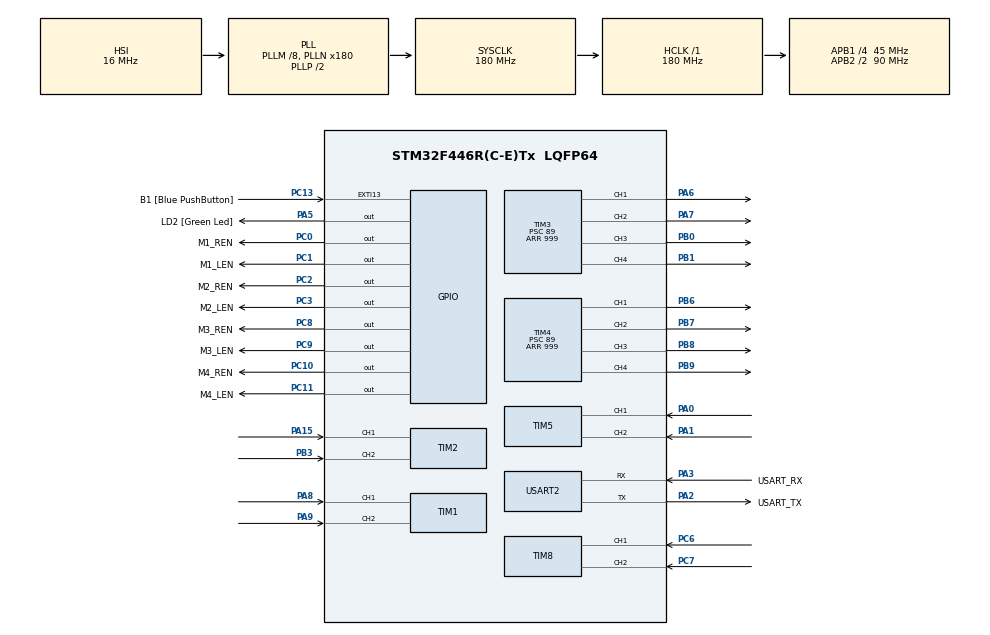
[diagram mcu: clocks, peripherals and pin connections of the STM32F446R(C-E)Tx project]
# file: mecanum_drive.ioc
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Mcu.Family=STM32F4
Mcu.Name=STM32F446R(C-E)Tx
Mcu.Package=LQFP64
NVIC.PriorityGroup=NVIC_PRIORITYGROUP_0
NVIC.TIM6_DAC_IRQn=true\:0\:0\:false\:false\:true\:true\:true\:true
NVIC.USART2_IRQn=true\:0\:0\:false\:false\:true\:true\:true\:true
PA0-WKUP.Signal=S_TIM5_CH1
PA1.Signal=S_TIM5_CH2
PA13.GPIO_Label=TMS
PA13.Mode=Serial_Wire
PA13.Signal=SYS_JTMS-SWDIO
PA14.GPIO_Label=TCK
PA14.Mode=Serial_Wire
PA14.Signal=SYS_JTCK-SWCLK
PA15.Signal=S_TIM2_CH1_ETR
PA2.GPIO_Label=USART_TX
PA2.Mode=Asynchronous
PA2.Signal=USART2_TX
PA3.GPIO_Label=USART_RX
PA3.Mode=Asynchronous
PA3.Signal=USART2_RX
PA5.GPIO_Label=LD2 [Green Led]
PA5.Signal=GPIO_Output
PA6.Signal=S_TIM3_CH1
PA7.Signal=S_TIM3_CH2
PA8.Signal=S_TIM1_CH1
PA9.Signal=S_TIM1_CH2
PB0.Signal=S_TIM3_CH3
PB1.Signal=S_TIM3_CH4
PB3.Signal=S_TIM2_CH2
PB6.Signal=S_TIM4_CH1
PB7.Signal=S_TIM4_CH2
PB8.Signal=S_TIM4_CH3
PB9.Signal=S_TIM4_CH4
PC0.GPIO_Label=M1_REN
PC0.Signal=GPIO_Output
PC1.GPIO_Label=M1_LEN
PC1.Signal=GPIO_Output
PC10.GPIO_Label=M4_REN
PC10.Signal=GPIO_Output
PC11.GPIO_Label=M4_LEN
PC11.Signal=GPIO_Output
PC13.GPIO_Label=B1 [Blue PushButton]
PC13.GPIO_ModeDefaultEXTI=GPIO_MODE_IT_FALLING
PC13.Signal=GPXTI13
PC14-OSC32_IN.Signal=RCC_OSC32_IN
PC15-OSC32_OUT.Signal=RCC_OSC32_OUT
PC2.GPIO_Label=M2_REN
PC2.Signal=GPIO_Output
PC3.GPIO_Label=M2_LEN
PC3.Signal=GPIO_Output
PC6.Signal=S_TIM8_CH1
PC7.Signal=S_TIM8_CH2
PC8.GPIO_Label=M3_REN
PC8.Signal=GPIO_Output
PC9.GPIO_Label=M3_LEN
PC9.Signal=GPIO_Output
PH0-OSC_IN.Signal=RCC_OSC_IN
PH1-OSC_OUT.Signal=RCC_OSC_OUT
ProjectManager.HeapSize=0x200
ProjectManager.StackSize=0x400
ProjectManager.TargetToolchain=STM32CubeIDE
RCC.AHBFreq_Value=180000000
RCC.APB1CLKDivider=RCC_HCLK_DIV4
RCC.APB1Freq_Value=45000000
RCC.APB1TimFreq_Value=90000000
RCC.APB2CLKDivider=RCC_HCLK_DIV2
RCC.APB2Freq_Value=90000000
RCC.APB2TimFreq_Value=180000000
RCC.CortexFreq_Value=180000000
RCC.FLatency-AdvancedSettings=FLASH_LATENCY_5
RCC.HCLKFreq_Value=180000000
RCC.HSE_VALUE=8000000
RCC.HSI_VALUE=16000000
RCC.LSE_VALUE=32768
RCC.PLLM=8
RCC.PLLN=180
RCC.SYSCLKFreq_VALUE=180000000
RCC.SYSCLKSource=RCC_SYSCLKSOURCE_PLLCLK
RCC.USBFreq_Value=180000000
RCC.VCOOutputFreq_Value=360000000
SH.S_TIM1_CH1.0=TIM1_CH1,Encoder_Interface
SH.S_TIM1_CH2.0=TIM1_CH2,Encoder_Interface
SH.S_TIM2_CH1_ETR.0=TIM2_CH1,Encoder_Interface
SH.S_TIM2_CH2.0=TIM2_CH2,Encoder_Interface
SH.S_TIM3_CH1.0=TIM3_CH1,PWM Generation1 CH1
SH.S_TIM3_CH2.0=TIM3_CH2,PWM Generation2 CH2
SH.S_TIM3_CH3.0=TIM3_CH3,PWM Generation3 CH3
SH.S_TIM3_CH4.0=TIM3_CH4,PWM Generation4 CH4
SH.S_TIM4_CH1.0=TIM4_CH1,PWM Generation1 CH1
SH.S_TIM4_CH2.0=TIM4_CH2,PWM Generation2 CH2
SH.S_TIM4_CH3.0=TIM4_CH3,PWM Generation3 CH3
SH.S_TIM4_CH4.0=TIM4_CH4,PWM Generation4 CH4
SH.S_TIM5_CH1.0=TIM5_CH1,Encoder_Interface
SH.S_TIM5_CH2.0=TIM5_CH2,Encoder_Interface
SH.S_TIM8_CH1.0=TIM8_CH1,Encoder_Interface
SH.S_TIM8_CH2.0=TIM8_CH2,Encoder_Interface
TIM1.EncoderMode=TIM_ENCODERMODE_TI12
TIM1.IC1Filter=15
TIM1.IC2Filter=15
TIM2.EncoderMode=TIM_ENCODERMODE_TI12
TIM2.IC1Filter=15
TIM2.IC2Filter=15
TIM3.Channel-PWM\ Generation1\ CH1=TIM_CHANNEL_1
TIM3.Channel-PWM\ Generation2\ CH2=TIM_CHANNEL_2
TIM3.Channel-PWM\ Generation3\ CH3=TIM_CHANNEL_3
TIM3.Channel-PWM\ Generation4\ CH4=TIM_CHANNEL_4
TIM3.Period=999
TIM3.Prescaler=89
TIM4.Channel-PWM\ Generation1\ CH1=TIM_CHANNEL_1
TIM4.Channel-PWM\ Generation2\ CH2=TIM_CHANNEL_2
TIM4.Channel-PWM\ Generation3\ CH3=TIM_CHANNEL_3
TIM4.Channel-PWM\ Generation4\ CH4=TIM_CHANNEL_4
TIM4.Period=999
TIM4.Prescaler=89
TIM5.EncoderMode=TIM_ENCODERMODE_TI12
TIM5.IC1Filter=15
TIM5.IC2Filter=15
TIM6.Period=199
TIM6.Prescaler=8999
TIM8.EncoderMode=TIM_ENCODERMODE_TI12
TIM8.IC1Filter=15
TIM8.IC2Filter=15
USART2.VirtualMode=VM_ASYNC
VP_TIM6_VS_ClockSourceINT.Mode=Enable_Timer
board=NUCLEO-F446RE

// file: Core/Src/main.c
/* USER CODE BEGIN Header */
/**
  ******************************************************************************
  * @file           : main.c
  * @brief          : Main program body
  ******************************************************************************
  * @attention
  *
  * Copyright (c) 2026 STMicroelectronics.
  * All rights reserved.
  *
  * This software is licensed under terms that can be found in the LICENSE file
  * in the root directory of this software component.
  * If no LICENSE file comes with this software, it is provided AS-IS.
  *
  ******************************************************************************
  */
/* USER CODE END Header */
#include "main.h"

/* USER CODE BEGIN Includes */
#include <stdio.h>
#include <stdlib.h>
#include <string.h>
#include <math.h>
/* USER CODE END Includes */

/* USER CODE BEGIN PD */
/* 11 PPR x 4 (quadrature) x 21.3 gear ratio */
#define COUNTS_PER_REV   937.2f
/* Must match the TIM6 interrupt rate (50 Hz) */
#define TICK_SECONDS     0.02f
#define TWO_PI           6.283185f

/* Development duty ceiling out of the 999 ARR full scale: a wrong sign or a
 * runaway command crawls instead of bolting. Raised deliberately once closed
 * loop is trusted. */
#define DUTY_CEILING 300

/* Open-loop feedforward gain: ~41.9 rad/s (400 RPM no-load) maps to the 999
 * full-duty count, so 999 / 41.89 = 23.85. A first guess the PID corrects. */
#define DUTY_PER_RAD_S 23.85f

/* Largest accepted wheel command: the motor's no-load top speed. Anything
 * beyond is a malformed command and is rejected, not clamped. */
#define MAX_CMD_RAD_S 42.0f

/* Largest gain the K command accepts. Covers the tuning sweep with room to
 * probe the instability edge (around 55 to 80 for FL), and rejects a dropped
 * decimal point (300 meant as 30.0). Rejected, not clamped, like
 * MAX_CMD_RAD_S: a clamped typo would still run a gain never intended. */
#define KP_MAX 80.0f

/* Largest integral gain the I command accepts, duty counts per (rad/s x s).
 * Twice the top of the tuning sweep (Ki 200), and rejects a dropped decimal
 * point (1000 meant as 100.0). Rejected, not clamped, like KP_MAX. */
#define KI_MAX 400.0f

/* Anti-windup clamp on each wheel's integral term, in duty counts. Covers
 * every legitimate need with margin (worst case about 42: FR at low speed,
 * cold, low battery; FR needs about -30 at 12 rad/s, hence symmetric), while
 * a wheel that cannot reach its target can add at most 60 counts of wound-up
 * duty instead of hundreds. */
#define I_LIMIT 60.0f

/* Per-wheel forward-drive sign, order {FL, FR, RL, RR}.
 * Left wheels mount mirror-imaged to the right, so their encoders count the
 * opposite way and read negative when rolled forward. Corrected here in
 * firmware, never by swapping Hall wires, to keep the wiring uniform.
 * Bench-measured on a forward roll: FL -, FR +, RL -, RR +. */
#define DIR_FL (-1)
#define DIR_FR (+1)
#define DIR_RL (-1)
#define DIR_RR (+1)

/* USER CODE END PD */

TIM_HandleTypeDef htim1;
TIM_HandleTypeDef htim2;
TIM_HandleTypeDef htim3;
TIM_HandleTypeDef htim4;
TIM_HandleTypeDef htim5;
TIM_HandleTypeDef htim6;
TIM_HandleTypeDef htim8;

UART_HandleTypeDef huart2;

/* USER CODE BEGIN PV */

/* Live encoder counts - global so the debugger's Live Expressions
 * panel can watch them. Raw CNT register values, updated each loop. */
volatile uint32_t enc_fl = 0;   /* M1 front left  - TIM1 */
volatile uint32_t enc_fr = 0;   /* M2 front right - TIM8 */
volatile uint32_t enc_rl = 0;   /* M3 rear left   - TIM5 */
volatile uint32_t enc_rr = 0;   /* M4 rear right  - TIM2 */

/* Previous-tick counts, used to compute per-tick deltas */
volatile uint32_t enc_fl_prev = 0;
volatile uint32_t enc_fr_prev = 0;
volatile uint32_t enc_rl_prev = 0;
volatile uint32_t enc_rr_prev = 0;

/* Wheel velocities in rad/s, updated each TIM6 tick */
volatile float vel_fl = 0.0f;
volatile float vel_fr = 0.0f;
volatile float vel_rl = 0.0f;
volatile float vel_rr = 0.0f;

/* Raised by the TIM6 ISR when a fresh velocity sample exists, cleared by the
 * main loop once it has sent one line. volatile: crosses the ISR/main-loop
 * boundary. Single byte, so the load/store is atomic on Cortex-M4. */
volatile uint8_t tx_ready = 0;

/* ---- Command receive (USART2 RX) ---- */

/* One-byte landing slot HAL fills on each interrupt receive. */
uint8_t rx_byte = 0;

/* Ring buffer: ISR writes bytes at head, main loop reads at tail. Decouples the
 * fast interrupt from the slow line parsing. Power-of-two size so the wrap is a
 * bitmask, not a divide. Single-writer-per-index (ISR owns head, main owns
 * tail) makes it lock-free on Cortex-M4. */
#define RX_RING_SIZE 128
volatile uint8_t  rx_ring[RX_RING_SIZE];
volatile uint16_t rx_head = 0;
volatile uint16_t rx_tail = 0;

/* Commanded wheel velocities in rad/s, order FL FR RL RR. Written only by a
 * validated C,... line (atomically, see parse_command) and cleared on disarm.
 * Read by TIM6, which maps them to PWM via apply_velocity_control(). */

volatile float target_fl = 0.0f;
volatile float target_fr = 0.0f;
volatile float target_rl = 0.0f;
volatile float target_rr = 0.0f;

/* Proportional gain, duty counts per rad/s of error. Boots at 0 so a fresh
 * board reproduces the verified open loop until a K command is acknowledged.
 * No PRIMASK needed, unlike the targets: one aligned 32-bit store is atomic
 * on the M4. Survives disarm; only reset or a new K command changes it. */
volatile float kp = 0.0f;

/* Integral gain. Boots at 0, and at ki = 0 the integrals stay at 0, so a
 * fresh board runs exactly the P law of 3c0b9ff. Same rules as kp: changed
 * only while disarmed, survives disarm, atomic 32-bit store. */
volatile float ki = 0.0f;

/* Per-wheel integral term in duty counts: the controller's only memory.
 * Written by TIM6 (wheel_duty) and cleared by motors_disarm(); read by the
 * main loop for the D,... line. */
volatile float integ_fl = 0.0f;
volatile float integ_fr = 0.0f;
volatile float integ_rl = 0.0f;
volatile float integ_rr = 0.0f;

/* Watchdog: ms timestamp of the last valid velocity command. Compared against
 * HAL_GetTick() to detect a dead control link. */
volatile uint32_t last_cmd_ms = 0;

/* If armed and no valid C,... arrives within this many ms, the watchdog
 * disarms. 300 ms: a dead link stops the wheels in about a third of a
 * second. The host must command faster than this (console heartbeat 100 ms). */
#define CMD_TIMEOUT_MS 300u

/* State-change event to emit from the main loop (never transmit from an ISR).
 * 0 = nothing pending. */
volatile uint8_t status_event = 0;
#define STATUS_ARMED     1
#define STATUS_DISARMED  2
#define STATUS_TIMEOUT   3

/* Master motion permission. Starts disarmed so the board boots inert; only an
 * explicit motors_arm() permits motion. volatile: the Step 5 watchdog clears it
 * from interrupt context while the main loop reads it. */
volatile uint8_t motors_armed = 0;

/* USER CODE END PV */

void SystemClock_Config(void);
static void MX_GPIO_Init(void);
static void MX_TIM3_Init(void);
static void MX_TIM4_Init(void);
static void MX_TIM1_Init(void);
static void MX_TIM2_Init(void);
static void MX_TIM5_Init(void);
static void MX_TIM8_Init(void);
static void MX_TIM6_Init(void);
static void MX_USART2_UART_Init(void);
/* USER CODE BEGIN PFP */
void motor_set(TIM_HandleTypeDef *htim, uint32_t rpwm_ch, uint32_t lpwm_ch,
               GPIO_TypeDef *en_port, uint16_t ren_pin, uint16_t len_pin,
               int16_t speed);
void mecanum_drive(int16_t vx, int16_t vy, int16_t omega);

void encoders_read_raw(void);

void HAL_TIM_PeriodElapsedCallback(TIM_HandleTypeDef *htim);

void motors_disarm(void);
void motors_arm(void);

void process_rx(void);
static void parse_enable(const char *s);
static void parse_command(const char *s);
static int16_t wheel_duty(float target, float measured, volatile float *integ);
void apply_velocity_control(void);
static void parse_gain(const char *s);

/* USER CODE END PFP */

int main(void)
{

  /* MCU Configuration--------------------------------------------------------*/

  /* Reset of all peripherals, Initializes the Flash interface and the Systick. */
  HAL_Init();

  /* Configure the system clock */
  SystemClock_Config();

  /* Initialize all configured peripherals */
  MX_GPIO_Init();
  MX_TIM3_Init();
  MX_TIM4_Init();
  MX_TIM1_Init();
  MX_TIM2_Init();
  MX_TIM5_Init();
  MX_TIM8_Init();
  MX_TIM6_Init();
  MX_USART2_UART_Init();
  /* USER CODE BEGIN 2 */
  /* Start PWM on all 8 channels */
  HAL_TIM_PWM_Start(&htim3, TIM_CHANNEL_1);
  HAL_TIM_PWM_Start(&htim3, TIM_CHANNEL_2);
  HAL_TIM_PWM_Start(&htim3, TIM_CHANNEL_3);
  HAL_TIM_PWM_Start(&htim3, TIM_CHANNEL_4);
  HAL_TIM_PWM_Start(&htim4, TIM_CHANNEL_1);
  HAL_TIM_PWM_Start(&htim4, TIM_CHANNEL_2);
  HAL_TIM_PWM_Start(&htim4, TIM_CHANNEL_3);
  HAL_TIM_PWM_Start(&htim4, TIM_CHANNEL_4);

  /* Turn on hardware quadrature counting for all four encoders.
   * Without these calls the CNT registers stay frozen at 0 no
   * matter how the shafts turn. TIM_CHANNEL_ALL enables both the
   * A and B input channels together. */
  HAL_TIM_Encoder_Start(&htim1, TIM_CHANNEL_ALL);
  HAL_TIM_Encoder_Start(&htim8, TIM_CHANNEL_ALL);
  HAL_TIM_Encoder_Start(&htim5, TIM_CHANNEL_ALL);
  HAL_TIM_Encoder_Start(&htim2, TIM_CHANNEL_ALL);

  /* _IT enables the interrupt; plain Start would never fire the callback */
  HAL_TIM_Base_Start_IT(&htim6);

  /* Arm the first interrupt receive. Each byte re-arms the next inside
   * HAL_UART_RxCpltCallback, so this one call starts a self-sustaining chain. */
  HAL_UART_Receive_IT(&huart2, &rx_byte, 1);

  /* USER CODE END 2 */

  /* Infinite loop */
  /* USER CODE BEGIN WHILE */
  while (1)
  {
    /* One telemetry line per fresh TIM6 sample. The flag paces this at
     * 50 Hz, so no HAL_Delay is needed. */
    if (tx_ready)
    {
      tx_ready = 0;   /* clear before the send: a sample arriving during
                       * transmit stays pending rather than being dropped */

      /* Snapshot the volatile velocities so all four fields in a line come
       * from one instant, even if the ISR updates them mid-format. */
      float fl = vel_fl;
      float fr = vel_fr;
      float rl = vel_rl;
      float rr = vel_rr;
      float i_fl = integ_fl;
      float i_fr = integ_fr;
      float i_rl = integ_rl;
      float i_rr = integ_rr;

      char buf[64];
      int n = snprintf(buf, sizeof(buf),
                       "V,%+7.2f,%+7.2f,%+7.2f,%+7.2f\n",
                       fl, fr, rl, rr);
      if (n > 0)
      {
        HAL_UART_Transmit(&huart2, (uint8_t *)buf, (uint16_t)n, HAL_MAX_DELAY);
      }

      /* Integrals on their own line so V keeps exactly 5 fields and existing
       * host tools are unaffected. V plus D use about 30% of the link. */
      n = snprintf(buf, sizeof(buf),
                   "D,%+7.2f,%+7.2f,%+7.2f,%+7.2f\n",
                   i_fl, i_fr, i_rl, i_rr);
      if (n > 0)
      {
        HAL_UART_Transmit(&huart2, (uint8_t *)buf, (uint16_t)n, HAL_MAX_DELAY);
      }
    }

    /* Assemble and parse any received command bytes. */
    process_rx();

    /* Report any state change once, from the main loop (not the ISR). */
    if (status_event)
    {
      uint8_t e = status_event;
      status_event = 0;
      const char *msg = (e == STATUS_ARMED)    ? "S,ARMED\n"    :
                        (e == STATUS_DISARMED) ? "S,DISARMED\n" :
                                                 "S,TIMEOUT\n";
      HAL_UART_Transmit(&huart2, (uint8_t *)msg, (uint16_t)strlen(msg), HAL_MAX_DELAY);
    }
    /* USER CODE END WHILE */

  }
}
void SystemClock_Config(void)
{
  RCC_OscInitTypeDef RCC_OscInitStruct = {0};
  RCC_ClkInitTypeDef RCC_ClkInitStruct = {0};

  /** Configure the main internal regulator output voltage
  */
  __HAL_RCC_PWR_CLK_ENABLE();
  __HAL_PWR_VOLTAGESCALING_CONFIG(PWR_REGULATOR_VOLTAGE_SCALE1);

  /** Initializes the RCC Oscillators according to the specified parameters
  * in the RCC_OscInitTypeDef structure.
  */
  RCC_OscInitStruct.OscillatorType = RCC_OSCILLATORTYPE_HSI;
  RCC_OscInitStruct.HSIState = RCC_HSI_ON;
  RCC_OscInitStruct.HSICalibrationValue = RCC_HSICALIBRATION_DEFAULT;
  RCC_OscInitStruct.PLL.PLLState = RCC_PLL_ON;
  RCC_OscInitStruct.PLL.PLLSource = RCC_PLLSOURCE_HSI;
  RCC_OscInitStruct.PLL.PLLM = 8;
  RCC_OscInitStruct.PLL.PLLN = 180;
  RCC_OscInitStruct.PLL.PLLP = RCC_PLLP_DIV2;
  RCC_OscInitStruct.PLL.PLLQ = 2;
  RCC_OscInitStruct.PLL.PLLR = 2;
  if (HAL_RCC_OscConfig(&RCC_OscInitStruct) != HAL_OK)
  {
    Error_Handler();
  }

  /** Activate the Over-Drive mode
  */
  if (HAL_PWREx_EnableOverDrive() != HAL_OK)
  {
    Error_Handler();
  }

  /** Initializes the CPU, AHB and APB buses clocks
  */
  RCC_ClkInitStruct.ClockType = RCC_CLOCKTYPE_HCLK|RCC_CLOCKTYPE_SYSCLK
                              |RCC_CLOCKTYPE_PCLK1|RCC_CLOCKTYPE_PCLK2;
  RCC_ClkInitStruct.SYSCLKSource = RCC_SYSCLKSOURCE_PLLCLK;
  RCC_ClkInitStruct.AHBCLKDivider = RCC_SYSCLK_DIV1;
  RCC_ClkInitStruct.APB1CLKDivider = RCC_HCLK_DIV4;
  RCC_ClkInitStruct.APB2CLKDivider = RCC_HCLK_DIV2;

  if (HAL_RCC_ClockConfig(&RCC_ClkInitStruct, FLASH_LATENCY_5) != HAL_OK)
  {
    Error_Handler();
  }
}

static void MX_TIM1_Init(void)
{

  TIM_Encoder_InitTypeDef sConfig = {0};
  TIM_MasterConfigTypeDef sMasterConfig = {0};

  htim1.Instance = TIM1;
  htim1.Init.Prescaler = 0;
  htim1.Init.CounterMode = TIM_COUNTERMODE_UP;
  htim1.Init.Period = 65535;
  htim1.Init.ClockDivision = TIM_CLOCKDIVISION_DIV1;
  htim1.Init.RepetitionCounter = 0;
  htim1.Init.AutoReloadPreload = TIM_AUTORELOAD_PRELOAD_DISABLE;
  sConfig.EncoderMode = TIM_ENCODERMODE_TI12;
  sConfig.IC1Polarity = TIM_ICPOLARITY_RISING;
  sConfig.IC1Selection = TIM_ICSELECTION_DIRECTTI;
  sConfig.IC1Prescaler = TIM_ICPSC_DIV1;
  sConfig.IC1Filter = 15;
  sConfig.IC2Polarity = TIM_ICPOLARITY_RISING;
  sConfig.IC2Selection = TIM_ICSELECTION_DIRECTTI;
  sConfig.IC2Prescaler = TIM_ICPSC_DIV1;
  sConfig.IC2Filter = 15;
  if (HAL_TIM_Encoder_Init(&htim1, &sConfig) != HAL_OK)
  {
    Error_Handler();
  }
  sMasterConfig.MasterOutputTrigger = TIM_TRGO_RESET;
  sMasterConfig.MasterSlaveMode = TIM_MASTERSLAVEMODE_DISABLE;
  if (HAL_TIMEx_MasterConfigSynchronization(&htim1, &sMasterConfig) != HAL_OK)
  {
    Error_Handler();
  }

}

static void MX_TIM2_Init(void)
{

  TIM_Encoder_InitTypeDef sConfig = {0};
  TIM_MasterConfigTypeDef sMasterConfig = {0};

  htim2.Instance = TIM2;
  htim2.Init.Prescaler = 0;
  htim2.Init.CounterMode = TIM_COUNTERMODE_UP;
  htim2.Init.Period = 4294967295;
  htim2.Init.ClockDivision = TIM_CLOCKDIVISION_DIV1;
  htim2.Init.AutoReloadPreload = TIM_AUTORELOAD_PRELOAD_DISABLE;
  sConfig.EncoderMode = TIM_ENCODERMODE_TI12;
  sConfig.IC1Polarity = TIM_ICPOLARITY_RISING;
  sConfig.IC1Selection = TIM_ICSELECTION_DIRECTTI;
  sConfig.IC1Prescaler = TIM_ICPSC_DIV1;
  sConfig.IC1Filter = 15;
  sConfig.IC2Polarity = TIM_ICPOLARITY_RISING;
  sConfig.IC2Selection = TIM_ICSELECTION_DIRECTTI;
  sConfig.IC2Prescaler = TIM_ICPSC_DIV1;
  sConfig.IC2Filter = 15;
  if (HAL_TIM_Encoder_Init(&htim2, &sConfig) != HAL_OK)
  {
    Error_Handler();
  }
  sMasterConfig.MasterOutputTrigger = TIM_TRGO_RESET;
  sMasterConfig.MasterSlaveMode = TIM_MASTERSLAVEMODE_DISABLE;
  if (HAL_TIMEx_MasterConfigSynchronization(&htim2, &sMasterConfig) != HAL_OK)
  {
    Error_Handler();
  }

}

static void MX_TIM3_Init(void)
{

  TIM_MasterConfigTypeDef sMasterConfig = {0};
  TIM_OC_InitTypeDef sConfigOC = {0};

  htim3.Instance = TIM3;
  htim3.Init.Prescaler = 89;
  htim3.Init.CounterMode = TIM_COUNTERMODE_UP;
  htim3.Init.Period = 999;
  htim3.Init.ClockDivision = TIM_CLOCKDIVISION_DIV1;
  htim3.Init.AutoReloadPreload = TIM_AUTORELOAD_PRELOAD_DISABLE;
  if (HAL_TIM_PWM_Init(&htim3) != HAL_OK)
  {
    Error_Handler();
  }
  sMasterConfig.MasterOutputTrigger = TIM_TRGO_RESET;
  sMasterConfig.MasterSlaveMode = TIM_MASTERSLAVEMODE_DISABLE;
  if (HAL_TIMEx_MasterConfigSynchronization(&htim3, &sMasterConfig) != HAL_OK)
  {
    Error_Handler();
  }
  sConfigOC.OCMode = TIM_OCMODE_PWM1;
  sConfigOC.Pulse = 0;
  sConfigOC.OCPolarity = TIM_OCPOLARITY_HIGH;
  sConfigOC.OCFastMode = TIM_OCFAST_DISABLE;
  if (HAL_TIM_PWM_ConfigChannel(&htim3, &sConfigOC, TIM_CHANNEL_1) != HAL_OK)
  {
    Error_Handler();
  }
  if (HAL_TIM_PWM_ConfigChannel(&htim3, &sConfigOC, TIM_CHANNEL_2) != HAL_OK)
  {
    Error_Handler();
  }
  if (HAL_TIM_PWM_ConfigChannel(&htim3, &sConfigOC, TIM_CHANNEL_3) != HAL_OK)
  {
    Error_Handler();
  }
  if (HAL_TIM_PWM_ConfigChannel(&htim3, &sConfigOC, TIM_CHANNEL_4) != HAL_OK)
  {
    Error_Handler();
  }
  HAL_TIM_MspPostInit(&htim3);

}

static void MX_TIM4_Init(void)
{

  TIM_MasterConfigTypeDef sMasterConfig = {0};
  TIM_OC_InitTypeDef sConfigOC = {0};

  htim4.Instance = TIM4;
  htim4.Init.Prescaler = 89;
  htim4.Init.CounterMode = TIM_COUNTERMODE_UP;
  htim4.Init.Period = 999;
  htim4.Init.ClockDivision = TIM_CLOCKDIVISION_DIV1;
  htim4.Init.AutoReloadPreload = TIM_AUTORELOAD_PRELOAD_DISABLE;
  if (HAL_TIM_PWM_Init(&htim4) != HAL_OK)
  {
    Error_Handler();
  }
  sMasterConfig.MasterOutputTrigger = TIM_TRGO_RESET;
  sMasterConfig.MasterSlaveMode = TIM_MASTERSLAVEMODE_DISABLE;
  if (HAL_TIMEx_MasterConfigSynchronization(&htim4, &sMasterConfig) != HAL_OK)
  {
    Error_Handler();
  }
  sConfigOC.OCMode = TIM_OCMODE_PWM1;
  sConfigOC.Pulse = 0;
  sConfigOC.OCPolarity = TIM_OCPOLARITY_HIGH;
  sConfigOC.OCFastMode = TIM_OCFAST_DISABLE;
  if (HAL_TIM_PWM_ConfigChannel(&htim4, &sConfigOC, TIM_CHANNEL_1) != HAL_OK)
  {
    Error_Handler();
  }
  if (HAL_TIM_PWM_ConfigChannel(&htim4, &sConfigOC, TIM_CHANNEL_2) != HAL_OK)
  {
    Error_Handler();
  }
  if (HAL_TIM_PWM_ConfigChannel(&htim4, &sConfigOC, TIM_CHANNEL_3) != HAL_OK)
  {
    Error_Handler();
  }
  if (HAL_TIM_PWM_ConfigChannel(&htim4, &sConfigOC, TIM_CHANNEL_4) != HAL_OK)
  {
    Error_Handler();
  }
  HAL_TIM_MspPostInit(&htim4);

}

static void MX_TIM5_Init(void)
{

  TIM_Encoder_InitTypeDef sConfig = {0};
  TIM_MasterConfigTypeDef sMasterConfig = {0};

  htim5.Instance = TIM5;
  htim5.Init.Prescaler = 0;
  htim5.Init.CounterMode = TIM_COUNTERMODE_UP;
  htim5.Init.Period = 4294967295;
  htim5.Init.ClockDivision = TIM_CLOCKDIVISION_DIV1;
  htim5.Init.AutoReloadPreload = TIM_AUTORELOAD_PRELOAD_DISABLE;
  sConfig.EncoderMode = TIM_ENCODERMODE_TI12;
  sConfig.IC1Polarity = TIM_ICPOLARITY_RISING;
  sConfig.IC1Selection = TIM_ICSELECTION_DIRECTTI;
  sConfig.IC1Prescaler = TIM_ICPSC_DIV1;
  sConfig.IC1Filter = 15;
  sConfig.IC2Polarity = TIM_ICPOLARITY_RISING;
  sConfig.IC2Selection = TIM_ICSELECTION_DIRECTTI;
  sConfig.IC2Prescaler = TIM_ICPSC_DIV1;
  sConfig.IC2Filter = 15;
  if (HAL_TIM_Encoder_Init(&htim5, &sConfig) != HAL_OK)
  {
    Error_Handler();
  }
  sMasterConfig.MasterOutputTrigger = TIM_TRGO_RESET;
  sMasterConfig.MasterSlaveMode = TIM_MASTERSLAVEMODE_DISABLE;
  if (HAL_TIMEx_MasterConfigSynchronization(&htim5, &sMasterConfig) != HAL_OK)
  {
    Error_Handler();
  }

}

static void MX_TIM6_Init(void)
{

  TIM_MasterConfigTypeDef sMasterConfig = {0};

  htim6.Instance = TIM6;
  htim6.Init.Prescaler = 8999;
  htim6.Init.CounterMode = TIM_COUNTERMODE_UP;
  htim6.Init.Period = 199;
  htim6.Init.AutoReloadPreload = TIM_AUTORELOAD_PRELOAD_DISABLE;
  if (HAL_TIM_Base_Init(&htim6) != HAL_OK)
  {
    Error_Handler();
  }
  sMasterConfig.MasterOutputTrigger = TIM_TRGO_RESET;
  sMasterConfig.MasterSlaveMode = TIM_MASTERSLAVEMODE_DISABLE;
  if (HAL_TIMEx_MasterConfigSynchronization(&htim6, &sMasterConfig) != HAL_OK)
  {
    Error_Handler();
  }

}

static void MX_TIM8_Init(void)
{

  TIM_Encoder_InitTypeDef sConfig = {0};
  TIM_MasterConfigTypeDef sMasterConfig = {0};

  htim8.Instance = TIM8;
  htim8.Init.Prescaler = 0;
  htim8.Init.CounterMode = TIM_COUNTERMODE_UP;
  htim8.Init.Period = 65535;
  htim8.Init.ClockDivision = TIM_CLOCKDIVISION_DIV1;
  htim8.Init.RepetitionCounter = 0;
  htim8.Init.AutoReloadPreload = TIM_AUTORELOAD_PRELOAD_DISABLE;
  sConfig.EncoderMode = TIM_ENCODERMODE_TI12;
  sConfig.IC1Polarity = TIM_ICPOLARITY_RISING;
  sConfig.IC1Selection = TIM_ICSELECTION_DIRECTTI;
  sConfig.IC1Prescaler = TIM_ICPSC_DIV1;
  sConfig.IC1Filter = 15;
  sConfig.IC2Polarity = TIM_ICPOLARITY_RISING;
  sConfig.IC2Selection = TIM_ICSELECTION_DIRECTTI;
  sConfig.IC2Prescaler = TIM_ICPSC_DIV1;
  sConfig.IC2Filter = 15;
  if (HAL_TIM_Encoder_Init(&htim8, &sConfig) != HAL_OK)
  {
    Error_Handler();
  }
  sMasterConfig.MasterOutputTrigger = TIM_TRGO_RESET;
  sMasterConfig.MasterSlaveMode = TIM_MASTERSLAVEMODE_DISABLE;
  if (HAL_TIMEx_MasterConfigSynchronization(&htim8, &sMasterConfig) != HAL_OK)
  {
    Error_Handler();
  }

}

static void MX_USART2_UART_Init(void)
{

  huart2.Instance = USART2;
  huart2.Init.BaudRate = 115200;
  huart2.Init.WordLength = UART_WORDLENGTH_8B;
  huart2.Init.StopBits = UART_STOPBITS_1;
  huart2.Init.Parity = UART_PARITY_NONE;
  huart2.Init.Mode = UART_MODE_TX_RX;
  huart2.Init.HwFlowCtl = UART_HWCONTROL_NONE;
  huart2.Init.OverSampling = UART_OVERSAMPLING_16;
  if (HAL_UART_Init(&huart2) != HAL_OK)
  {
    Error_Handler();
  }

}

static void MX_GPIO_Init(void)
{
  GPIO_InitTypeDef GPIO_InitStruct = {0};

  /* GPIO Ports Clock Enable */
  __HAL_RCC_GPIOC_CLK_ENABLE();
  __HAL_RCC_GPIOH_CLK_ENABLE();
  __HAL_RCC_GPIOA_CLK_ENABLE();
  __HAL_RCC_GPIOB_CLK_ENABLE();

  /*Configure GPIO pin Output Level */
  HAL_GPIO_WritePin(GPIOC, M1_REN_Pin|M1_LEN_Pin|M2_REN_Pin|M2_LEN_Pin
                          |M3_REN_Pin|M3_LEN_Pin|M4_REN_Pin|M4_LEN_Pin, GPIO_PIN_RESET);

  /*Configure GPIO pin Output Level */
  HAL_GPIO_WritePin(LD2_GPIO_Port, LD2_Pin, GPIO_PIN_RESET);

  /*Configure GPIO pin : B1_Pin */
  GPIO_InitStruct.Pin = B1_Pin;
  GPIO_InitStruct.Mode = GPIO_MODE_IT_FALLING;
  GPIO_InitStruct.Pull = GPIO_NOPULL;
  HAL_GPIO_Init(B1_GPIO_Port, &GPIO_InitStruct);

  /*Configure GPIO pins : M1_REN_Pin M1_LEN_Pin M2_REN_Pin M2_LEN_Pin
                           M3_REN_Pin M3_LEN_Pin M4_REN_Pin M4_LEN_Pin */
  GPIO_InitStruct.Pin = M1_REN_Pin|M1_LEN_Pin|M2_REN_Pin|M2_LEN_Pin
                          |M3_REN_Pin|M3_LEN_Pin|M4_REN_Pin|M4_LEN_Pin;
  GPIO_InitStruct.Mode = GPIO_MODE_OUTPUT_PP;
  GPIO_InitStruct.Pull = GPIO_NOPULL;
  GPIO_InitStruct.Speed = GPIO_SPEED_FREQ_LOW;
  HAL_GPIO_Init(GPIOC, &GPIO_InitStruct);

  /*Configure GPIO pin : LD2_Pin */
  GPIO_InitStruct.Pin = LD2_Pin;
  GPIO_InitStruct.Mode = GPIO_MODE_OUTPUT_PP;
  GPIO_InitStruct.Pull = GPIO_NOPULL;
  GPIO_InitStruct.Speed = GPIO_SPEED_FREQ_LOW;
  HAL_GPIO_Init(LD2_GPIO_Port, &GPIO_InitStruct);

}

/* USER CODE BEGIN 4 */
/* Cut all motor output and forbid motion. Zero the duty BEFORE dropping the
 * enables: the timers keep running, so a channel left with a stale compare value
 * would resume that speed the instant something re-armed. */
void motors_disarm(void)
{

	motors_armed = 0;

    __HAL_TIM_SET_COMPARE(&htim3, TIM_CHANNEL_1, 0);
    __HAL_TIM_SET_COMPARE(&htim3, TIM_CHANNEL_2, 0);
    __HAL_TIM_SET_COMPARE(&htim3, TIM_CHANNEL_3, 0);
    __HAL_TIM_SET_COMPARE(&htim3, TIM_CHANNEL_4, 0);
    __HAL_TIM_SET_COMPARE(&htim4, TIM_CHANNEL_1, 0);
    __HAL_TIM_SET_COMPARE(&htim4, TIM_CHANNEL_2, 0);
    __HAL_TIM_SET_COMPARE(&htim4, TIM_CHANNEL_3, 0);
    __HAL_TIM_SET_COMPARE(&htim4, TIM_CHANNEL_4, 0);

    HAL_GPIO_WritePin(GPIOC, M1_REN_Pin|M1_LEN_Pin|M2_REN_Pin|M2_LEN_Pin
                            |M3_REN_Pin|M3_LEN_Pin|M4_REN_Pin|M4_LEN_Pin,
                            GPIO_PIN_RESET);

    /* Forget commanded intent so a later arm can never inherit stale motion. */
    target_fl = 0.0f;
    target_fr = 0.0f;
    target_rl = 0.0f;
    target_rr = 0.0f;
    /* Safe against a concurrent TIM6 tick: motors_armed is already 0, so the
     * ISR clears these too. This clear is what makes every arm start clean,
     * since motors_arm() may set armed again before TIM6 next runs. */
    integ_fl = 0.0f;
    integ_fr = 0.0f;
    integ_rl = 0.0f;
    integ_rr = 0.0f;

    HAL_GPIO_WritePin(LD2_GPIO_Port, LD2_Pin, GPIO_PIN_RESET);   /* LED off */
}

/* Permit motion. Disarms first so arming can never inherit a stale duty. */
void motors_arm(void)
{
    motors_disarm();

    HAL_GPIO_WritePin(GPIOC, M1_REN_Pin|M1_LEN_Pin|M2_REN_Pin|M2_LEN_Pin
                            |M3_REN_Pin|M3_LEN_Pin|M4_REN_Pin|M4_LEN_Pin,
                            GPIO_PIN_SET);

    last_cmd_ms = HAL_GetTick();   /* fresh timer so we do not instant-trip */
    motors_armed = 1;
    HAL_GPIO_WritePin(LD2_GPIO_Port, LD2_Pin, GPIO_PIN_SET);   /* LED on */
}

void motor_set(TIM_HandleTypeDef *htim, uint32_t rpwm_ch, uint32_t lpwm_ch,
               GPIO_TypeDef *en_port, uint16_t ren_pin, uint16_t len_pin,
               int16_t speed)
{
    /* Gate here, not at the call site, so every caller inherits it. */
    if (!motors_armed)
    {
        __HAL_TIM_SET_COMPARE(htim, rpwm_ch, 0);
        __HAL_TIM_SET_COMPARE(htim, lpwm_ch, 0);
        return;
    }
    uint16_t duty = (uint16_t)(speed < 0 ? -speed : speed);
    if (duty > DUTY_CEILING) duty = DUTY_CEILING;

    if (speed > 0)
    {
        __HAL_TIM_SET_COMPARE(htim, rpwm_ch, duty);
        __HAL_TIM_SET_COMPARE(htim, lpwm_ch, 0);
    }
    else if (speed < 0)
    {
        __HAL_TIM_SET_COMPARE(htim, rpwm_ch, 0);
        __HAL_TIM_SET_COMPARE(htim, lpwm_ch, duty);
    }
    else
    {
        __HAL_TIM_SET_COMPARE(htim, rpwm_ch, 0);
        __HAL_TIM_SET_COMPARE(htim, lpwm_ch, 0);
    }
}

void mecanum_drive(int16_t vx, int16_t vy, int16_t omega)
{
    int16_t fl = vx - vy - omega;
    int16_t fr = vx + vy + omega;
    int16_t rl = vx + vy - omega;
    int16_t rr = vx - vy + omega;

    motor_set(&htim3, TIM_CHANNEL_1, TIM_CHANNEL_2, GPIOC, M1_REN_Pin, M1_LEN_Pin, fl);
    motor_set(&htim3, TIM_CHANNEL_3, TIM_CHANNEL_4, GPIOC, M2_REN_Pin, M2_LEN_Pin, fr);
    motor_set(&htim4, TIM_CHANNEL_1, TIM_CHANNEL_2, GPIOC, M3_REN_Pin, M3_LEN_Pin, rl);
    motor_set(&htim4, TIM_CHANNEL_3, TIM_CHANNEL_4, GPIOC, M4_REN_Pin, M4_LEN_Pin, rr);
}

/* Feedforward plus P plus I for one wheel. Target, measured speed and duty
 * must share the forward-positive sign convention (DIR_* on the encoder
 * side); a flip on any wheel turns the feedback positive.
 *
 * Clamps in float BEFORE the int16_t cast: an out-of-range float-to-int
 * conversion is undefined, and on this target it keeps the low 16 bits, so
 * 40000.0 becomes -25536, a full reverse that motor_set()'s own clamp cannot
 * undo. A corrupted encoder delta alone can reach that range. */
static int16_t wheel_duty(float target, float measured, volatile float *integ)
{
    float e = target - measured;

    /* The controller runs every tick, armed or not: P is stateless, but the
     * integral would wind up against a wheel that cannot move. A zero target
     * means stop; without this reset the integral holds its last value on a
     * stopped wheel (standing current, sitting just under breakaway), while
     * P still does the braking. Zero is exact here: never computed, only
     * parsed or cleared. A reversal is deliberately not a reset: its large
     * error flips the integral's sign within two ticks. */
    if (!motors_armed || target == 0.0f)
    {
        *integ = 0.0f;
    }
    else
    {
        /* Stored in duty counts (Ki x e x dt), and the stored value itself is
         * clamped: limiting only its contribution would let a hidden value
         * keep growing and still lurch the wheel while it unwound. */
        float i = *integ + ki * e * TICK_SECONDS;
        if (i >  I_LIMIT) i =  I_LIMIT;
        if (i < -I_LIMIT) i = -I_LIMIT;
        *integ = i;
    }

    float d = DUTY_PER_RAD_S * target + kp * e + *integ;

    if (d >  (float)DUTY_CEILING) d =  (float)DUTY_CEILING;
    if (d < -(float)DUTY_CEILING) d = -(float)DUTY_CEILING;

    return (int16_t)d;
}

/* At kp = ki = 0 this yields exactly the open-loop duty; at ki = 0 exactly
 * the P law of 3c0b9ff, which is what makes those bench runs baselines. With
 * kp > 0 a zero target actively holds the wheel (brief reverse pulse when
 * stopping); only disarm freewheels. motor_set() owns the arm gate. Channel
 * mapping matches mecanum_drive(): M1=FL, M2=FR on TIM3; M3=RL, M4=RR on
 * TIM4. Each wheel keeps its own integral: they need different values. */
void apply_velocity_control(void)
{
    int16_t d_fl = wheel_duty(target_fl, vel_fl, &integ_fl);
    int16_t d_fr = wheel_duty(target_fr, vel_fr, &integ_fr);
    int16_t d_rl = wheel_duty(target_rl, vel_rl, &integ_rl);
    int16_t d_rr = wheel_duty(target_rr, vel_rr, &integ_rr);

    motor_set(&htim3, TIM_CHANNEL_1, TIM_CHANNEL_2, GPIOC, M1_REN_Pin, M1_LEN_Pin, d_fl);
    motor_set(&htim3, TIM_CHANNEL_3, TIM_CHANNEL_4, GPIOC, M2_REN_Pin, M2_LEN_Pin, d_fr);
    motor_set(&htim4, TIM_CHANNEL_1, TIM_CHANNEL_2, GPIOC, M3_REN_Pin, M3_LEN_Pin, d_rl);
    motor_set(&htim4, TIM_CHANNEL_3, TIM_CHANNEL_4, GPIOC, M4_REN_Pin, M4_LEN_Pin, d_rr);
}

/* Reads the live count out of each encoder timer's CNT register.
 * __HAL_TIM_GET_COUNTER just peeks the current value - it does not
 * reset anything. Updates the four global enc_* variables so the
 * debugger's Live Expressions panel can watch them change. */
void encoders_read_raw(void)
{
    enc_fl = __HAL_TIM_GET_COUNTER(&htim1);
    enc_fr = __HAL_TIM_GET_COUNTER(&htim8);
    enc_rl = __HAL_TIM_GET_COUNTER(&htim5);
    enc_rr = __HAL_TIM_GET_COUNTER(&htim2);
}

/* Fires every 20ms via TIM6. Guarded on TIM6 because this HAL callback
 * is shared by all period-elapsed timers. Signed-width casts must match
 * each timer's register width so counter wraparound resolves correctly:
 * int16_t for TIM1/TIM8 (16-bit), int32_t for TIM5/TIM2 (32-bit). */
void HAL_TIM_PeriodElapsedCallback(TIM_HandleTypeDef *htim)
{
    if (htim->Instance == TIM6)
    {
        encoders_read_raw();

        /* Cast to the timer's signed width before applying DIR_* so a counter
         * wrap unwraps correctly (int16 TIM1/TIM8, int32 TIM5/TIM2). */
        int16_t d_fl = DIR_FL * (int16_t)(enc_fl - enc_fl_prev);
        int16_t d_fr = DIR_FR * (int16_t)(enc_fr - enc_fr_prev);
        int32_t d_rl = DIR_RL * (int32_t)(enc_rl - enc_rl_prev);
        int32_t d_rr = DIR_RR * (int32_t)(enc_rr - enc_rr_prev);

        vel_fl = (float)d_fl * TWO_PI / COUNTS_PER_REV / TICK_SECONDS;
        vel_fr = (float)d_fr * TWO_PI / COUNTS_PER_REV / TICK_SECONDS;
        vel_rl = (float)d_rl * TWO_PI / COUNTS_PER_REV / TICK_SECONDS;
        vel_rr = (float)d_rr * TWO_PI / COUNTS_PER_REV / TICK_SECONDS;

        enc_fl_prev = enc_fl;
        enc_fr_prev = enc_fr;
        enc_rl_prev = enc_rl;
        enc_rr_prev = enc_rr;

        tx_ready = 1;

        /* Command watchdog. Only meaningful while armed. Unsigned subtraction
         * is wrap-safe. On timeout, disarm (which latches) and flag the event
         * for the main loop to report. */
        if (motors_armed && (HAL_GetTick() - last_cmd_ms > CMD_TIMEOUT_MS))
        {
            motors_disarm();
            status_event = STATUS_TIMEOUT;
        }

        /* Runs after the watchdog on purpose: if it disarmed this tick,
         * motor_set() already sees motors_armed == 0 and writes zero. */
        apply_velocity_control();

    }
}

/* One byte arrived on USART2. Kept tiny: stash and re-arm. No parsing here;
 * float parsing in an ISR would stall and risk dropping the next byte (this
 * UART has no RX FIFO). */
void HAL_UART_RxCpltCallback(UART_HandleTypeDef *huart)
{
    if (huart->Instance == USART2)
    {
        uint16_t next = (rx_head + 1u) & (RX_RING_SIZE - 1u);
        if (next != rx_tail)          /* store only if not full */
        {
            rx_ring[rx_head] = rx_byte;
            rx_head = next;
        }
        /* If full, drop the byte; newline framing resyncs on the next line. */

        HAL_UART_Receive_IT(&huart2, &rx_byte, 1);   /* re-arm */
    }
}

/* A latched UART error (e.g. overrun) can stop interrupt reception dead.
 * Re-arming clears it and keeps RX alive for the rest of the session. */
void HAL_UART_ErrorCallback(UART_HandleTypeDef *huart)
{
    if (huart->Instance == USART2)
    {
        HAL_UART_Receive_IT(&huart2, &rx_byte, 1);
    }
}

/* Parse "C,<fl>,<fr>,<rl>,<rr>" into the four targets, then echo "A,..." so the
 * host sees exactly what we understood. Any deviation (wrong tag, missing
 * number or comma) drops the line silently; the next newline resyncs. strtof
 * (not sscanf) avoids pulling in scanf-float support. */
static void parse_command(const char *s)
{
    if (s[0] != 'C' || s[1] != ',')
        return;

    const char *p = s + 2;
    char *end;
    float v[4];

    for (int i = 0; i < 4; i++)
    {
        v[i] = strtof(p, &end);
        if (end == p)                 /* no digits consumed => malformed */
            return;
        p = end;
        if (i < 3)
        {
            if (*p != ',')
                return;
            p++;
        }
    }

    /* Reject the whole command if any value is non-finite or beyond what the
     * motor can physically do. A rejected command does not feed the watchdog,
     * so a sender streaming garbage cannot keep the robot armed. */
    for (int i = 0; i < 4; i++)
    {
        if (!isfinite(v[i]) || fabsf(v[i]) > MAX_CMD_RAD_S)
            return;
    }

    /* TIM6 reads these targets, so publish all four plus the watchdog stamp
     * with interrupts masked: the ISR sees all-old or all-new, never a mix.
     * Restore PRIMASK rather than force-enable, so this is safe to nest. */
    uint32_t primask = __get_PRIMASK();
    __disable_irq();
    target_fl = v[0];
    target_fr = v[1];
    target_rl = v[2];
    target_rr = v[3];
    last_cmd_ms = HAL_GetTick();
    __set_PRIMASK(primask);

    char buf[64];
    int n = snprintf(buf, sizeof(buf), "A,%+7.2f,%+7.2f,%+7.2f,%+7.2f\n",
                     v[0], v[1], v[2], v[3]);
    if (n > 0)
        HAL_UART_Transmit(&huart2, (uint8_t *)buf, (uint16_t)n, HAL_MAX_DELAY);
}

/* "E,1" arms (clears the latch), "E,0" disarms. Only this path can arm; a
 * velocity command never can, which is what makes the stop latch hold. */
static void parse_enable(const char *s)
{
    if (s[1] != ',') return;
    if (s[2] == '1')      { motors_arm();    status_event = STATUS_ARMED;    }
    else if (s[2] == '0') { motors_disarm(); status_event = STATUS_DISARMED; }
}

/* "K,<kp>" or "I,<ki>" sets that gain and replies "A,K,<kp>" or "A,I,<ki>".
 * One parser because every rule is shared; only the limit, the variable and
 * the ack letter come from the tag. Accepted only while disarmed, so a gain
 * change never steps the duty under a spinning wheel or mixes two gains in
 * one log. No race between the check and the store: only the main loop can
 * arm; the ISR can only disarm. Trailing characters are rejected because
 * strtof would read "K,3O" as 3. Rejections are silent; the host detects the
 * missing ack. */
static void parse_gain(const char *s)
{
    if (s[1] != ',')
        return;
    if (motors_armed)
        return;

    const char tag = s[0];                       /* 'K' or 'I', see process_rx */
    const float limit = (tag == 'K') ? KP_MAX : KI_MAX;

    const char *p = s + 2;
    char *end;
    float v = strtof(p, &end);

    if (end == p || *end != '\0')
        return;
    if (!isfinite(v) || v < 0.0f || v > limit)
        return;

    if (tag == 'K')
        kp = v;
    else
        ki = v;

    char buf[24];
    int n = snprintf(buf, sizeof(buf), "A,%c,%.2f\n", tag, v);
    if (n > 0)
        HAL_UART_Transmit(&huart2, (uint8_t *)buf, (uint16_t)n, HAL_MAX_DELAY);
}

/* Drain the ring, assembling bytes into a line until '\n', then parse it. Runs
 * in the main loop where slow work is safe. line[]/idx are static: one command
 * can arrive spread across several loop iterations. */
void process_rx(void)
{
    static char     line[64];
    static uint16_t idx = 0;

    while (rx_tail != rx_head)
    {
        char c = (char)rx_ring[rx_tail];
        rx_tail = (rx_tail + 1u) & (RX_RING_SIZE - 1u);

        if (c == '\n')
        {
            line[idx] = '\0';
            if (line[0] == 'E')
                parse_enable(line);
            else if (line[0] == 'K' || line[0] == 'I')
                parse_gain(line);
            else
                parse_command(line);
            idx = 0;
        }

        else if (c == '\r')
        {
            /* ignore CR (tolerate CRLF) */
        }
        else if (idx < sizeof(line) - 1)
        {
            line[idx++] = c;
        }
        else
        {
            idx = 0;   /* overlong line: discard, resync on next newline */
        }
    }
}

/* USER CODE END 4 */

void Error_Handler(void)
{
  __disable_irq();
  while (1)
  {
  }
}
